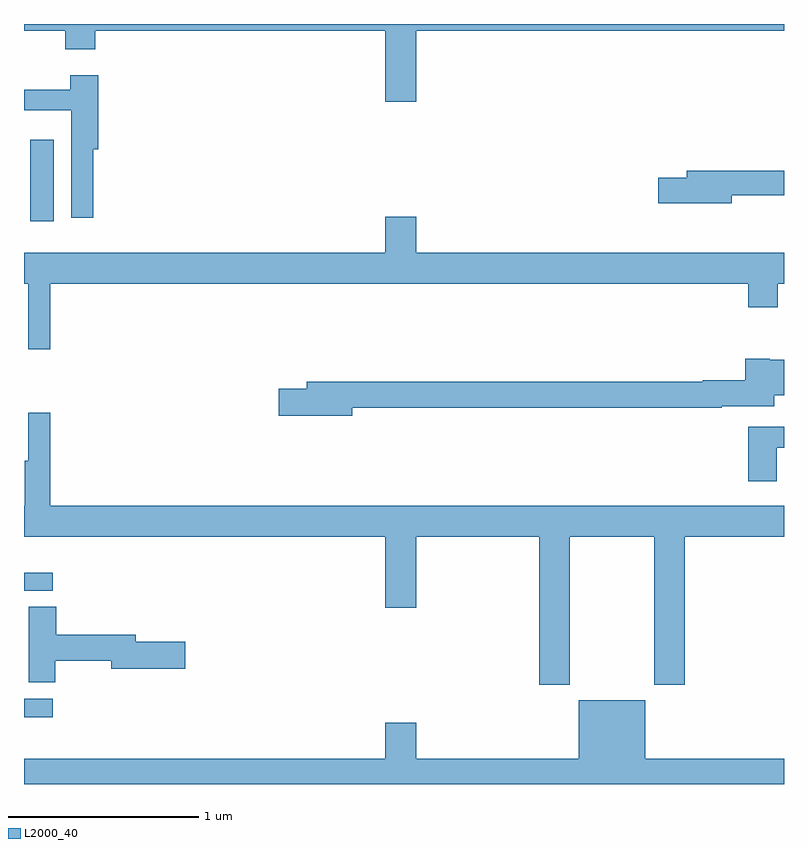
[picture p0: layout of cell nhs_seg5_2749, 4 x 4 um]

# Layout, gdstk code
import gdstk
lib = gdstk.Library(unit=1e-6, precision=1e-09)
def R(c, l, rs):  # rectangles x0, y0, x1, y1
    for r in rs: c.add(gdstk.rectangle(r[:2], r[2:], *l))
def P(c, l, *ps):  # polygons
    for p in ps: c.add(gdstk.Polygon(p, *l))
L2000_40 = (2000, 40)

nhs_seg5_2749 = lib.new_cell('nhs_seg5_2749')
R(nhs_seg5_2749, L2000_40, [(271,849.151,271.15,849.249), (271,849.816,271.15,849.912), (271.034,851.76,271.156,852.19)])
P(nhs_seg5_2749, L2000_40, [(273.064,852.764),(275,852.764),(275,852.799),(271,852.799),(271,852.764),(271.216,852.764),(271.216,852.665),(271.376,852.665),(271.376,852.764),(272.9,852.764),(272.9,852.39),(273.064,852.39)],
  [(271.364,852.14),(271.391,852.14),(271.391,852.529),(271.244,852.529),(271.244,852.454),(271,852.454),(271,852.345),(271.038,852.345),(271.038,852.344),(271.248,852.344),(271.248,851.778),(271.364,851.778)],
  [(274.726,851.898),(275,851.898),(275,852.026),(274.487,852.026),(274.487,851.99),(274.338,851.99),(274.338,851.855),(274.726,851.855)],
  [(271.139,851.432),(274.811,851.432),(274.811,851.308),(274.967,851.308),(274.967,851.432),(275,851.432),(275,851.596),(273.064,851.596),(273.064,851.785),(272.9,851.785),(272.9,851.596),(271,851.596),(271,851.432),(271.023,851.432),(271.023,851.088),(271.139,851.088)],
  [(272.728,850.78),(274.672,850.78),(274.672,850.787),(274.948,850.787),(274.948,850.844),(275,850.844),(275,851.032),(274.926,851.032),(274.926,851.038),(274.796,851.038),(274.796,850.924),(274.572,850.924),(274.572,850.916),(272.489,850.916),(272.489,850.88),(272.34,850.88),(272.34,850.738),(272.728,850.738)],
  [(273.873,850.1),(274.318,850.1),(274.318,849.321),(274.478,849.321),(274.478,850.1),(275,850.1),(275,850.264),(271.139,850.264),(271.139,850.753),(271.022,850.753),(271.022,850.5),(271.003,850.5),(271.003,850.264),(271,850.264),(271,850.1),(272.9,850.1),(272.9,849.726),(273.064,849.726),(273.064,850.1),(273.713,850.1),(273.713,849.321),(273.873,849.321)],
  [(274.963,850.569),(275,850.569),(275,850.678),(274.811,850.678),(274.811,850.392),(274.963,850.392)],
  [(271.164,849.448),(271.46,849.448),(271.46,849.406),(271.849,849.406),(271.849,849.548),(271.588,849.548),(271.588,849.584),(271.169,849.584),(271.169,849.731),(271.025,849.731),(271.025,849.334),(271.164,849.334)],
  [(275,848.932),(274.27,848.932),(274.27,849.241),(273.92,849.241),(273.92,848.932),(273.064,848.932),(273.064,849.121),(272.9,849.121),(272.9,848.932),(271,848.932),(271,848.799),(275,848.799)])

lib.write_gds('nhs_seg5_2749.gds')
